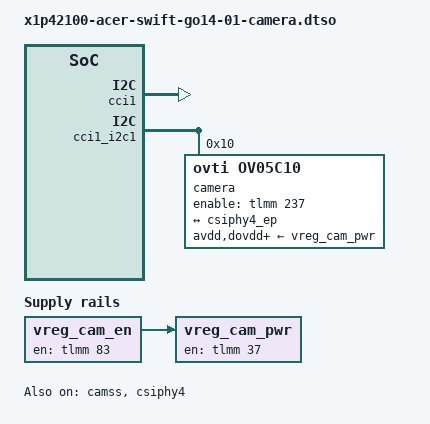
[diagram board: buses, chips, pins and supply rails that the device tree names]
// SPDX-License-Identifier: BSD-3-Clause
/*
 * Acer Swift Go 14 AI (SFG14-01): front RGB camera (OmniVision OV05C10)
 *
 * Wiring taken from the Windows camera driver package (Qualcomm CRD/QRD
 * reference design, ACPI\VEN_QCOM&DEV_0C06&SUBSYS_CRD08380&REV_0001):
 *  - CCI1 bus 1 (gpio235/236), 7-bit address 0x10, chip id 0x4305 @ 0x0000
 *  - MCLK4 (gpio100), shutdown/reset on gpio237
 *  - module power switched by gpio37 (no PMIC rails are voted), fed by
 *    the camera platform enable on gpio83 (CAMP_RES_QRD.bin)
 *  - 2-lane D-PHY on CSIPHY4
 *
 * Also moves X1P42100 to its own camcc and CAMSS descriptions (no VFE1,
 * no IFE_1 GDSC, only CSIPHY0/4).
 */

/dts-v1/;
/plugin/;

#include <dt-bindings/clock/qcom,x1e80100-camcc.h>
#include <dt-bindings/clock/qcom,x1e80100-gcc.h>
#include <dt-bindings/gpio/gpio.h>
#include <dt-bindings/interrupt-controller/arm-gic.h>
#include <dt-bindings/phy/phy.h>

&{/} {
	vreg_cam_en: regulator-cam-en {
		compatible = "regulator-fixed";
		regulator-name = "vreg_cam_en";

		gpio = <&tlmm 83 GPIO_ACTIVE_HIGH>;
		enable-active-high;

		pinctrl-0 = <&cam_en_default>;
		pinctrl-names = "default";
	};

	vreg_cam_pwr: regulator-cam-pwr {
		compatible = "regulator-fixed";
		regulator-name = "vreg_cam_pwr";

		gpio = <&tlmm 37 GPIO_ACTIVE_HIGH>;
		enable-active-high;
		startup-delay-us = <4000>;
		vin-supply = <&vreg_cam_en>;

		pinctrl-0 = <&cam_pwr_en_default>;
		pinctrl-names = "default";
	};
};

&camcc {
	compatible = "qcom,x1p42100-camcc";
};

&camss {
	compatible = "qcom,x1p42100-camss";

	reg = <0 0x0acb6000 0 0x1000>,
	      <0 0x0acb7000 0 0x2000>,
	      <0 0x0acb9000 0 0x2000>,
	      <0 0x0acbb000 0 0x2000>,
	      <0 0x0acc6000 0 0x1000>,
	      <0 0x0acca000 0 0x1000>,
	      <0 0x0acf6000 0 0x1000>,
	      <0 0x0acf7000 0 0x1000>,
	      <0 0x0acf8000 0 0x1000>,
	      <0 0x0ac62000 0 0x4000>,
	      <0 0x0acc7000 0 0x2000>,
	      <0 0x0accb000 0 0x2000>;
	reg-names = "csid_wrapper",
		    "csid0",
		    "csid1",
		    "csid2",
		    "csid_lite0",
		    "csid_lite1",
		    "csitpg0",
		    "csitpg1",
		    "csitpg2",
		    "vfe0",
		    "vfe_lite0",
		    "vfe_lite1";

	clocks = <&camcc CAM_CC_CAMNOC_AXI_NRT_CLK>,
		 <&camcc CAM_CC_CAMNOC_AXI_RT_CLK>,
		 <&camcc CAM_CC_CORE_AHB_CLK>,
		 <&camcc CAM_CC_CPAS_AHB_CLK>,
		 <&camcc CAM_CC_CPAS_FAST_AHB_CLK>,
		 <&camcc CAM_CC_CPAS_IFE_0_CLK>,
		 <&camcc CAM_CC_CPAS_IFE_LITE_CLK>,
		 <&camcc CAM_CC_CPHY_RX_CLK_SRC>,
		 <&camcc CAM_CC_CSID_CLK>,
		 <&camcc CAM_CC_CSID_CSIPHY_RX_CLK>,
		 <&gcc GCC_CAMERA_HF_AXI_CLK>,
		 <&gcc GCC_CAMERA_SF_AXI_CLK>,
		 <&camcc CAM_CC_IFE_0_CLK>,
		 <&camcc CAM_CC_IFE_0_FAST_AHB_CLK>,
		 <&camcc CAM_CC_IFE_LITE_CLK>,
		 <&camcc CAM_CC_IFE_LITE_AHB_CLK>,
		 <&camcc CAM_CC_IFE_LITE_CPHY_RX_CLK>,
		 <&camcc CAM_CC_IFE_LITE_CSID_CLK>;
	clock-names = "camnoc_nrt_axi",
		      "camnoc_rt_axi",
		      "core_ahb",
		      "cpas_ahb",
		      "cpas_fast_ahb",
		      "cpas_vfe0",
		      "cpas_vfe_lite",
		      "cphy_rx_clk_src",
		      "csid",
		      "csid_csiphy_rx",
		      "gcc_axi_hf",
		      "gcc_axi_sf",
		      "vfe0",
		      "vfe0_fast_ahb",
		      "vfe_lite",
		      "vfe_lite_ahb",
		      "vfe_lite_cphy_rx",
		      "vfe_lite_csid";

	interrupts = <GIC_SPI 464 IRQ_TYPE_EDGE_RISING>,
		     <GIC_SPI 466 IRQ_TYPE_EDGE_RISING>,
		     <GIC_SPI 431 IRQ_TYPE_EDGE_RISING>,
		     <GIC_SPI 468 IRQ_TYPE_EDGE_RISING>,
		     <GIC_SPI 359 IRQ_TYPE_EDGE_RISING>,
		     <GIC_SPI 465 IRQ_TYPE_EDGE_RISING>,
		     <GIC_SPI 469 IRQ_TYPE_EDGE_RISING>,
		     <GIC_SPI 360 IRQ_TYPE_EDGE_RISING>;
	interrupt-names = "csid0",
			  "csid1",
			  "csid2",
			  "csid_lite0",
			  "csid_lite1",
			  "vfe0",
			  "vfe_lite0",
			  "vfe_lite1";

	phys = <&csiphy0>, <&csiphy4>;
	phy-names = "csiphy0", "csiphy4";

	power-domains = <&camcc CAM_CC_IFE_0_GDSC>,
			<&camcc CAM_CC_TITAN_TOP_GDSC>;
	power-domain-names = "ife0", "top";

	status = "okay";

	ports {
		/*
		 * port0 => csiphy0
		 * port1 => csiphy4
		 */
		port@1 {
			csiphy4_ep: endpoint@4 {
				reg = <4>;
				clock-lanes = <7>;
				data-lanes = <0 1>;
				remote-endpoint = <&ov05c10_ep>;
			};
		};
	};
};

&cci1 {
	status = "okay";
};

&cci1_i2c1 {
	#address-cells = <1>;
	#size-cells = <0>;

	camera@10 {
		compatible = "ovti,ov05c10";
		reg = <0x10>;

		enable-gpios = <&tlmm 237 GPIO_ACTIVE_HIGH>;
		pinctrl-0 = <&cam_rgb_default>;
		pinctrl-names = "default";

		clocks = <&camcc CAM_CC_MCLK4_CLK>;
		assigned-clocks = <&camcc CAM_CC_MCLK4_CLK>;
		assigned-clock-rates = <24000000>;

		orientation = <0>; /* front facing */

		avdd-supply = <&vreg_cam_pwr>;
		dovdd-supply = <&vreg_cam_pwr>;
		dvdd-supply = <&vreg_cam_pwr>;

		port {
			ov05c10_ep: endpoint {
				data-lanes = <1 2>;
				link-frequencies = /bits/ 64 <900000000>;
				remote-endpoint = <&csiphy4_ep>;
			};
		};
	};
};

&csiphy4 {
	vdda-0p8-supply = <&vreg_l2c_0p8>;
	vdda-1p2-supply = <&vreg_l1c_1p2>;
	phy-type = <PHY_TYPE_DPHY>;

	status = "okay";
};

&tlmm {
	cam_en_default: cam-en-state {
		pins = "gpio83";
		function = "gpio";
		drive-strength = <2>;
		bias-disable;
	};

	cam_pwr_en_default: cam-pwr-en-state {
		pins = "gpio37";
		function = "gpio";
		drive-strength = <2>;
		bias-disable;
	};

	cam_rgb_default: cam-rgb-default-state {
		mclk-pins {
			pins = "gpio100";
			function = "cam_aon";
			drive-strength = <16>;
			bias-disable;
		};

		reset-n-pins {
			pins = "gpio237";
			function = "gpio";
			drive-strength = <2>;
			bias-disable;
		};
	};
};
